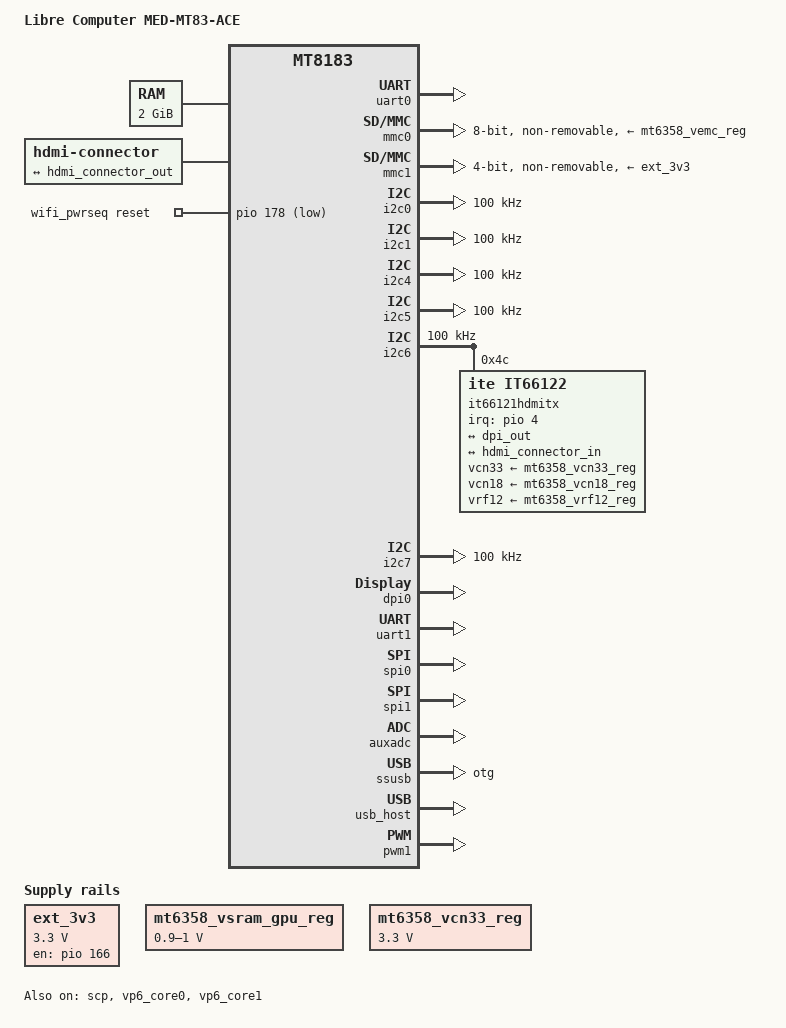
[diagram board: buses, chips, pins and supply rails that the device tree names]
// SPDX-License-Identifier: (GPL-2.0 OR MIT)
/*
 * Libre Computer MED-MT83-ACE (MT8385 / Genio 500, MT8183 die).
 *
 * 🔴 NOT DT-SYNCED with the u-boot copy any more, and this header said it was.
 *
 * The claim was true when the pair landed (u-boot 68c622a576d) and the only
 * delta was the cpu/cci proc-supply block listed at the bottom of this comment.
 * It stopped being true as this bring-up added board content here and nowhere
 * else. Measured 2026-09-14 against
 * libretech-builder-simple/u-boot v2026.07/lc-master
 * dts/upstream/src/arm64/mediatek/mt8183-med-mt83-ace.dts: 1207 diff lines, 221
 * of them property or node lines with comments stripped, and **34 node overlays
 * present here that do not exist there at all** -- &pmic, &scp, &gpu, &mfg,
 * &mfg_async, six &i2c*, &dpi0, &dpi_out, &auxadc, &pwm1, &spi0, &spi1, &uart1,
 * &cci, &cpu0..7, &mt6358codec and the six &mt6358_*_reg constraint nodes. The
 * u-boot copy is a strict SUBSET; it has gained nothing and lost nothing.
 *
 * That is doc-debt, deliberately not repaired in the round that found it: the
 * repair is a u-boot DTS change plus a u-boot build and a board boot to prove
 * it, which is a different question from the one this file's round was
 * answering. It does not break the DRAM-boot flow -- the kernel's DTB comes
 * from the FIT built out of THIS file, and u-boot uses its own built-in copy --
 * but /device-tree-sync's "both trees produce identical DTBs" is currently
 * UNMET for this board, and a reader must not infer from this header that the
 * u-boot copy carries any of the content below.
 *
 * Board content, each item read off the board's V1.0 schematic:
 *
 *   - MT6358 PMIC                        (schematic "MT8385 to MT6358 I/F")
 *   - MSDC0 eMMC, 8-bit + DSL + RSTB     (MSDC0_DAT0..7 / CMD / CLK / DSL / RSTB)
 *   - MSDC1 WiFi SDIO to the M.2 KEY E   (sheet 15 "MSDC1 as WiFi I/F")
 *   - UART0 to the debug + 40-pin header (URXD0 / UTXD0, "To Debug or Rasperry Pi")
 *   - SSUSB Type-C DRD, USB 2.0 only in practice (SSUSB_TXP/TXN/RXP/RXN are
 *     routed to CN1, but AVDD09_SSUSB is grounded -- see the &ssusb node)
 *
 * DRAM is Micron MT53B512M32D2NP-062 AAT, LPDDR4X, 2 GiB. A 4 GiB variant
 * exists; this DT is the 2 GiB build.
 *
 * NO VALUE IS DELIBERATELY ABSENT ANY MORE. Three once were:
 *   1. mediatek,u3p-dis-msk -- withheld on the reading that "ACE routes a real
 *      USB 3.0 PHY, so asserting no-U3 would contradict the schematic". That
 *      reading is RETRACTED: the pairs are routed, but AVDD09_SSUSB is tied to
 *      ground and the VA09 supply that would feed it is unpopulated, so the U3
 *      MAC can never leave reset. Routing is not power. The property is now set
 *      and the derivation is on the &ssusb node.
 *   2. &pmic interrupts-extended -- filled in, see the &pmic node.
 *   3. "microSD cd-gpios" -- CLOSED BY DELETION rather than by a value: there is
 *      no microSD slot on this board at all, MSDC1 is the M.2 WiFi SDIO bus.
 *      See the &mmc1 node.
 *
 * The standing rule that produced them still holds: do not fill a value in from
 * a sibling board, because a guess here becomes a hardware claim. Each of the
 * three above was closed from THIS board's schematic, not from the i500's.
 *
 * The it66121 HDMI bridge + DPI + hdmi-connector are shared with
 * mt8183-pumpkin.dts. They are NOT copied from it: every ACE value below is
 * read off this board's own schematic and the MT8385 pin table, and where the
 * two boards differ they differ (i2c6 vs the ACE analysis doc's claim of i2c0,
 * a GPIO6 reset net the i500 does not have, Type-A vs Type-D connector).
 *
 * Deliberately NOT carried over from mt8183-pumpkin.dts (all i500-board parts,
 * none of them on ACE): the keyboard matrix, mt7668 SDIO WiFi/BT + wifi_3v3,
 * the LAN9512 hub reset and force-vbus, the hd3ss3220 CC role switch, the
 * thermistor, the LEDs, and the i500-only mediatek,dma-max-burst read-storm
 * mitigation.
 *
 * Intentional deltas vs the u-boot copy, with reasons:
 *   - cpu0..7 / &cci proc-supply: MT8183 cpufreq needs them and u-boot has no
 *     DVFS. These are the MT8183+MT6358 pairing (little cluster on VPROC12, big
 *     cluster on VPROC11), identical in every in-tree MT8183 board file, not an
 *     ACE-specific routing claim.
 * Everything else is byte-for-byte the same board description.
 */

/dts-v1/;

#include <dt-bindings/gpio/gpio.h>
#include <dt-bindings/interrupt-controller/irq.h>
#include "mt8183.dtsi"
#include "mt6358.dtsi"

/ {
	model = "Libre Computer MED-MT83-ACE";
	compatible = "librecomputer,med-mt83-ace", "mediatek,mt8183";

	aliases {
		serial0 = &uart0;
		mmc0 = &mmc0;
		mmc1 = &mmc1;
	};

	memory@40000000 {
		device_type = "memory";
		reg = <0 0x40000000 0 0x80000000>;
	};

	chosen {
		stdout-path = "serial0:115200n8";
	};

	/* HDMI Type-A connector behind the IT66121FN (schematic sheet 14:
	 * "HDMI Type-A (CMA_TYPE-A J86A-91RT-13SL)", TMDS CH0/1/2 + CLK through
	 * common-mode chokes, CEC pin 13, HPD pin 18/19, TX_DDCSCL/TX_DDCSDA).
	 * Type "d" is what the i500 declares; the ACE connector is a full-size
	 * Type-A, so "a". */
	hdmi-connector {
		compatible = "hdmi-connector";
		label = "hdmi";
		type = "a";

		port {
			hdmi_connector_in: endpoint {
				remote-endpoint = <&hdmi_connector_out>;
			};
		};
	};

	/*
	 * EXT_3V3_ENABLE -- ONE SoC GPIO, TWO loads. Model it once, shared.
	 *
	 * 🔴 This is deliberately NOT a private mmc1 regulator, and that is the
	 * whole point of putting it at board level: GPIO166 gates BOTH the M.2
	 * WiFi 3.3 V (U4) AND the 40-pin header's 3V3 (U1). The annotation on the
	 * net says so in as many words -- "To WiFi 3V3 and Raspberry PWR EN". A DT
	 * that hangs this GPIO off mmc1 as a reset or an mmc1-owned supply would
	 * switch the header's rail as a side effect of an SDIO decision.
	 *
	 * ⚠️ SOURCED FROM THE RIGHT REVISION. An earlier draft of this node took
	 * its reference designators from med-mt83-ace-emcp-20250616 (U4000 / R4003 /
	 * R4002 / R4025 / R4027 / R4035 / L4000). That is the eMCP variant and it is
	 * also the OLDER document -- its title block reads 19 June 2025 against
	 * 04 September 2025 for the file below -- while this bench unit is the
	 * DISCRETE LPDDR4X build (its DRAM part MT53B512M32D2NP-062 appears in the
	 * g500 text and zero times in the eMCP one). Every designator below is
	 * re-read from g500_mt8385_schematic_v10_final_full.txt. The NET names are
	 * the same in both revisions, so only the designators moved.
	 *
	 *   sheet 5  PERI_EN     "To WiFi 3V3 and Raspberry PWR EN"
	 *                        EXT_3V3_ENABLE = PERIPHERAL_EN9
	 *   sheet 1  POWER_3V3   VSYS -> R9 (0R) -> POWER_3V3_VIN -> U1 (EN =
	 *                        EXT_3V3_ENABLE) -> L1 DFE252012P-1R5M ->
	 *                        POWER_3V3 -> R143 (0R) -> RASP_3V3 at CON1, the
	 *                        40-pin header, and also -> EX_DTB_POWER
	 *   sheet 15 WiFi        "3.3V DC-DC for M.2 Module": VSYS -> R85 (0R) ->
	 *                        3V3_M.2_VIN -> U4 RT5753AHGQWA (WDFN8-2x2; pin 3
	 *                        VIN, 7 EN, 6 LX) -> L6 DFE252012P-1R0M ->
	 *                        WIFI_3V3. Feedback R89 22K_1%.
	 *
	 * Ball -> GPIO from reference/soc/mt8385/04_ball_map/4_2_pin_characteristics.txt,
	 * which is a property of the DIE and so does not move with the board
	 * revision: PERIPHERAL_EN9 -> ball V22 -> GPIO166. mt8183-pinfunc.h offers
	 * GPIO166 only as GPIO166 or ANT_SEL6, so there is no function to lose by
	 * claiming it.
	 *
	 * 🔴 The enable is SoC-only -- there is no always-on strap, which is why
	 * the rail is dead until Linux drives it. Three candidate paths land on the
	 * M.2 buck's enable and only one is populated (designators per the g500 rev;
	 * the eMCP equivalents are given because the prior round quoted them):
	 *
	 *   EXT_3V3_ENABLE -> 3V3_M.2_EN   R90  0R R0402  POPULATED  (eMCP R4003)
	 *   VIO28_PMU      -> 3V3_M.2_EN   R88     R0402  NC         (eMCP R4002)
	 *   VIO18_PMU      -> 3V3_PG       R87     R0402  NM         (eMCP R4025)
	 *
	 * regulator-always-on + regulator-boot-on because the header's 3V3 is not
	 * a per-client rail: it must be live for anything a user plugs into CON1,
	 * and nothing in the DT can be its consumer. This is the same argument the
	 * vdram2 node below makes, not a crutch for a missing reference.
	 *
	 * ⚪ UNVERIFIED against a fitted module, and it cannot be verified here:
	 * the bench unit's M.2 Key-E socket is EMPTY (per the operator,
	 * 2026-09-14). What this node is expected to change is that the rail comes
	 * up at all; what it cannot settle is whether an SDIO card would answer on
	 * it.
	 */
	ext_3v3: regulator-ext-3v3 {
		compatible = "regulator-fixed";
		regulator-name = "ext_3v3";
		regulator-min-microvolt = <3300000>;
		regulator-max-microvolt = <3300000>;
		gpio = <&pio 166 GPIO_ACTIVE_HIGH>;
		enable-active-high;
		regulator-always-on;
		regulator-boot-on;
		pinctrl-names = "default";
		pinctrl-0 = <&ext_3v3_en_pins>;
	};

	/*
	 * WIFI_RESET_N -- the M.2 module's reset, held asserted until the SDIO
	 * bus is scanned. Sheet 15 labels the net "To WiFi RST"; it is
	 * PERIPHERAL_EN10, ball Y7 = GPIO178 (same pin table as above), and
	 * mt8183-pinfunc.h gives GPIO178 no alternate function at all.
	 *
	 * Active-low, so mmc-pwrseq-simple drives it low at pre_power_on and
	 * releases it after the supply is up -- which is the ordering an SDIO
	 * module needs and which nothing in the DT provided before.
	 *
	 * ⚪ Same caveat as &ext_3v3: no module is fitted, so the reset timing is
	 * modelled from the schematic and is UNPROVEN against a card. The node is
	 * inert on an empty socket -- it toggles a GPIO that reaches only the
	 * unpopulated connector.
	 */
	wifi_pwrseq: pwrseq-wifi {
		compatible = "mmc-pwrseq-simple";
		reset-gpios = <&pio 178 GPIO_ACTIVE_LOW>;
		pinctrl-names = "default";
		pinctrl-0 = <&wifi_reset_pins>;
	};

	/* The SCP's DRAM window. mt8183.dtsi's scp@10500000 carries an
	 * unconditional memory-region = <&scp_mem_reserved>, so the label has to
	 * exist for the board to compile at all (dtc otherwise fails with
	 * "Reference to non-existent node or label"). Same base/size as the
	 * i500, mt8183-pumpkin and mt8183-kukui -- 0x50000000 + 41 MiB is the
	 * SoC's SCP window, not a board choice, and the stock linux-firmware
	 * mediatek/mt8183/scp.img is linked for exactly that base, so this
	 * reservation is what lets the unrelocated vendor blob be used (the
	 * MT8188/G5 reloc-to-0x40E00000 recipe exists only because that board
	 * moved the window; nothing here needs it). &scp is enabled below. */
	reserved-memory {
		#address-cells = <2>;
		#size-cells = <2>;
		ranges;

		scp_mem_reserved: scp-mem@50000000 {
			compatible = "shared-dma-pool";
			reg = <0 0x50000000 0 0x2900000>;
			no-map;
		};

		/* BL31's TZRAM -- the secure monitor, resident for the life of
		 * the system. Two windows are reserved, because this DT must
		 * boot under either firmware: upstream TF-A (and the vendor BSP)
		 * link MT8183 TZRAM at 0x54600000, our TF-A fork at the DRAM base
		 * 0x40000000 (the libre DRAM load map). Each is TZRAM_SIZE
		 * (plat/mediatek/mt8183/include/platform_def.h), which is also
		 * the only DRAM-backed region BL31 maps (MAP_REGION_FLAT(TZRAM_BASE,
		 * TZRAM_SIZE) in aarch64/platform_common.c); the three
		 * MTK_DEV_RNG* regions beside it are MMIO below the DRAM base.
		 * The window the running BL31 does not use costs 192 KiB.
		 *
		 * Nothing in hardware enforces this: mt8183's emi_mpu_init()
		 * leaves domain 0 at NO_PROTECTION in every region, so the AP
		 * can read and write the monitor freely. Without this node
		 * Linux hands 0x54600000 out as ordinary memory -- measured, a
		 * 1 GiB allocation landed on it, the pattern and BL31's own
		 * writes interleaved, and the SoC reset to the BootROM with no
		 * panic.
		 *
		 * Size is TZRAM_SIZE (192 KiB), not the 2 MiB that
		 * mt8195-demo / mt8390-genio-common / the three mt8395 boards
		 * reserve at this same base: those are a rounded-up margin over
		 * an identically-sized window, not a different map. 0x30000 is
		 * three whole 64 KiB EMI MPU units, and BL31 is 45816 B. */
		bl31_lc_secmon_reserved: memory@40000000 {
			reg = <0 0x40000000 0 0x30000>;
			no-map;
		};

		bl31_secmon_reserved: memory@54600000 {
			reg = <0 0x54600000 0 0x30000>;
			no-map;
		};
	};

	firmware {
		scmi: scmi {
			compatible = "arm,scmi-smc";
			arm,smc-id = <0x82000310>;
			#address-cells = <1>;
			#size-cells = <0>;
			status = "disabled";
			/* no shmem: overlay-only reservation. Binding-incomplete
			 * until P2+P3's overlay; see dtbs_check note above. */
		};
	};
};

&uart0 {
	status = "okay";
};

/* MT6358 PMIC interrupt.
 *
 * Without this, platform_get_irq() in mt6397_probe() returns -ENXIO and the
 * probe ABORTS before mfd_add_devices(), so the whole MT6358 MFD -- regulators,
 * RTC, auxadc, audio codec, keys -- never appears. The kernel logs
 * "mt6397 1000d000.pwrap:pmic: error -ENXIO: IRQ index 0 not found".
 *
 * This is NOT copied from a sibling board: it is an MT8183 SoC-level constant,
 * and the ACE schematic is what establishes that there is no board net here to
 * differ about. Sourced, three independent readings:
 *
 *   1. The ACE schematics carry NO PMIC interrupt net at all.
 *      The eMCP-revision schematic (2025-06-16),
 *      sheet 10 "POWER_MT6358-IF" enumerates the complete MT6358<->MT8385
 *      control interface -- SYSRSTB, WATCHDOG, PWRKEY, HOMEKEY, SD_CARD_DET_N,
 *      PWRAP SPI CSN/CK/MO/MI, EXT_PMIC_EN1/2, SRCLKENA0/1, SCP_VREQ_VAO -- and
 *      there is no interrupt line among them. A search of both ACE schematic
 *      revisions (the eMCP one and the V1.0 final) for
 *      PMIC_INT / PMU_INT / MT6358_INT / IRQ returns zero hits.
 *
 *   2. The MT6358 has no interrupt output ball to route. Its datasheet's
 *      "Interface Summary" lists SPI,
 *      SRCLKEN_IN0/1, PWRKEY, HOMEKEY, RESETB, WDTRSTB_IN, EXT_PMIC_EN1/2,
 *      SCP_VREQ_VAO, SD_CARD_DET_N, HP_EINT (headphone detect), ACCDET,
 *      PMU_TESTMODE, the audio pairs and the fuel gauge -- and no host IRQ pin.
 *
 *   3. MT8183 GPIO182 is not a bonded-out ball on this package, so it cannot be
 *      a board net either way. GPIO180..GPIO191 appear ZERO times in the whole
 *      MT8385 datasheet and zero times in its ball map; the documented GPIO
 *      ball table stops at
 *      GPIO179. In pinctrl-mtk-mt8183.h pins 180..191 carry only MTK_FUNCTION(0,
 *      "GPIOnnn") and an EINT number -- GPIO182 -> EINT 173 -- i.e. an internal
 *      EINT source, which is how the PMIC's interrupt reaches the AP.
 *
 * Consistently, every in-tree MT8183+MT6358 board -- MediaTek's own reference
 * mt8183-evb.dts, mt8183-kukui.dtsi and mt8183-pumpkin.dts -- declares the
 * identical value, because it is a property of the die and not of the board.
 */
&pmic {
	interrupts-extended = <&pio 182 IRQ_TYPE_LEVEL_HIGH>;
};

/* eMMC (MSDC0). Pin assignment is the MT8183 fixed MSDC0 function block; the
 * ACE schematic routes the same DAT0..7 / CMD / CLK / DSL / RSTB set. */
&mmc0 {
	status = "okay";
	pinctrl-names = "default", "state_uhs";
	pinctrl-0 = <&mmc0_pins_default>;
	pinctrl-1 = <&mmc0_pins_uhs>;
	bus-width = <8>;
	max-frequency = <200000000>;
	cap-mmc-highspeed;
	mmc-hs200-1_8v;
	mmc-hs400-1_8v;
	cap-mmc-hw-reset;
	no-sdio;
	no-sd;
	hs400-ds-delay = <0x12814>;
	vmmc-supply = <&mt6358_vemc_reg>;
	vqmmc-supply = <&mt6358_vio18_reg>;
	assigned-clocks = <&topckgen CLK_TOP_MUX_MSDC50_0>;
	assigned-clock-parents = <&topckgen CLK_TOP_MSDCPLL_CK>;
	non-removable;
};

/* MSDC1 -- WiFi SDIO to the M.2 KEY E slot, NOT a microSD slot.
 *
 * 🔴 CORRECTION. Both DT copies described this as "microSD, 4-bit" with a
 * broken-cd polled slot and an unknown cd-gpios. Measured against the
 * schematic this session, that is wrong in three independent ways, and the
 * board has NO SD card socket at all:
 *
 *   1. Both ACE schematic texts label the MSDC1 block verbatim
 *      "MSDC1 as WiFi I/F" (sheet 15, WiFi_BT_GPS_Module) and route
 *      MSDC1_CLK/CMD/DAT0..3 through 0R series resistors R4301..R4306 to the
 *      M.2 KEY E connector's SDIO_CLK/CMD/D0..D3.
 *   2. The board's connector list enumerates CN1, J6, J7, J8, CON1, ME2, the 3.5 mm jack, HDMI,
 *      J4004 and J3 -- and no card socket.
 *   3. The one card-detect-shaped net on the board, the MT6358's
 *      SD_CARD_DET_N (pin J13), goes to a TEST POINT only (TP23 / TP8227) and
 *      reaches no connector -- which is why no cd-gpios was ever findable.
 *      Its absence was the symptom, not a gap in the OCR.
 *
 * So the "unknown cd-gpios" is CLOSED by deletion, not by a value. Supplies
 * are corrected with it: vqmmc is DVDD18_MSDC1, which the schematic ties to
 * VIO18_PMU through R90171 (sheet 3) -- not to VMC. vmmc is NOT a PMIC rail
 * here: the module is fed WIFI_3V3 from an external buck, so the old vmch
 * reference was a claim about a rail that does not supply this slot.
 *
 * ⚠️ NET NAMES CORRECTED. An earlier revision of this comment named
 * EXT_3V1_ENABLE, WIFI_RST_L, RT5733AHGQWA and WIFI_3V9. None of those four
 * strings appears anywhere in this board's schematic -- they were misreadings,
 * not a superseded naming scheme. The board says EXT_3V3_ENABLE, WIFI_RESET_N,
 * RT5753AHGQWA and WIFI_3V3, in BOTH the g500 and the eMCP revisions, and both
 * GPIOs are now resolved -- see &ext_3v3 and &wifi_pwrseq.
 *
 * ⚠️ The buck's designator really is U4 on this revision -- that part of the
 * old comment was right. U4000 is the eMCP variant's name for the same part,
 * and the eMCP document is the OLDER of the two (June vs September 2025), so
 * it is not a rename and it is not what this unit is.
 *
 * ⚪ NO MODULE IS FITTED in the M.2 Key-E socket on the bench unit (per the
 * operator, 2026-09-14). `mmc1: Failed to initialize a non-removable card`
 * with cmd=52 / cmd=5 timing out is therefore the CORRECT reading for this
 * board and not a defect to chase. The supplies below are modelled because
 * they are true of the board regardless of population -- and because the same
 * enable also feeds the 40-pin header (see &ext_3v3) -- but the SDIO side of
 * them is UNVERIFIED, since there is no card here to verify it against. */
&mmc1 {
	status = "okay";
	pinctrl-names = "default", "state_uhs";
	pinctrl-0 = <&mmc1_pins_default>;
	pinctrl-1 = <&mmc1_pins_uhs>;
	bus-width = <4>;
	max-frequency = <200000000>;
	cap-sd-highspeed;
	sd-uhs-sdr50;
	sd-uhs-sdr104;
	cap-sdio-irq;
	keep-power-in-suspend;
	non-removable;
	no-mmc;
	no-sd;
	vmmc-supply = <&ext_3v3>;
	vqmmc-supply = <&mt6358_vio18_reg>;
	mmc-pwrseq = <&wifi_pwrseq>;
};

/* The MFG (GPU) power domains. 🔴 THESE ARE NOT OPTIONAL AND THEIR ABSENCE
 * IS NOT LOCAL TO THE GPU.
 *
 * Measured 2026-09-14 on the first feature run (DTB 225383aa08ce), verbatim:
 *
 *   mtk-power-controller 10006000.syscon:power-controller: Looking up
 *     domain-supply property in node /soc/syscon@10006000/power-controller failed
 *   mtk-power-controller 10006000.syscon:power-controller: error -ENODEV:
 *     /soc/syscon@10006000/power-controller/power-domain@2: failed to get power supply.
 *
 * scpsys refuses the WHOLE controller when one domain's supply is missing, so
 * every consumer of `power-domains = <&spm ...>` is then stranded on
 * "supplier 10006000.syscon:power-controller not ready" -- measured, that was
 * 40 platform devices: the entire display pipeline (ovl/rdma/color/ccorr/aal/
 * gamma/dither/mutex/dpi and therefore mediatek-drm and the HDMI bridge), the
 * GPU, all six SMI larbs, the IOMMU, MDP3, both video codecs, the JPEG
 * encoder, the AFE and the display PWM. One missing property, one dead
 * multimedia subsystem.
 *
 * Rails read off the schematic, not copied from a sibling: sheet 8 buck VGPU
 * -> DVDD_GPU (SoC ball S18), sheet 9 SLDO VSRAM_GPU -> DVDD_VSRAM_GPU_PMU
 * (ball T18). Both were present-but-disabled in the PMIC round's
 * 41-regulator enumeration, because nothing claimed them. */
&mfg_async {
	domain-supply = <&mt6358_vsram_gpu_reg>;
};

&mfg {
	domain-supply = <&mt6358_vgpu_reg>;
};

/* Mali G72 MP3, panfrost.
 *
 * ONLY mali-supply. The SRAM rail belongs on &mfg_async above, not here: this
 * node's compatible is "mediatek,mt8183b-mali", which panfrost_drv.c maps to
 * mediatek_mt8183_b_data -> default_supplies[] = { "mali", NULL }. Only the
 * older "mediatek,mt8183-mali" takes legacy_supplies[] = { "mali", "sram" }.
 * An earlier revision of this file declared sram-supply here, where it is
 * inert. Every in-tree MT8183 board (kukui, pumpkin, evb) sets mali-supply
 * alone for the same reason. */
&gpu {
	mali-supply = <&mt6358_vgpu_reg>;
};

/*
 * PWR-002 on ACE: make the mtk-svs GPU bank bind deterministically. Same fix
 * mt8183-kukui.dtsi:389-439 carries (27e60b5cca611), applied here because ACE
 * includes mt8183.dtsi + mt6358.dtsi and inherits none of the kukui file.
 *
 * Board-measured 2026-09-14 on 6.18.35-01555-g511eaa254f99, verbatim and
 * character-for-character the string that commit was written for:
 *
 *   [    3.600810]  SVSB_GPU: buck voltage: 700000uV, expected vboot: 800000uV
 *   [    3.607684] mtk-svs 1100bc00.svs: error -EPERM: svs start fail
 *
 * with SVSB_CPU_LITTLE, SVSB_CPU_BIG and SVSB_CCI all clearing their init01
 * gates in the same boot, so the GPU bank is the only one left. mtk-svs.c
 * :1545-1550 requires the live buck to read exactly opp_vboot = volt_base +
 * vboot*volt_step = 500000 + 0x30*6250 = 800000 uV; vgpu idles at 700 mV and
 * SVS never drives the rail itself.
 *
 * The floor goes on vsram_gpu, NOT vgpu: vgpu is panfrost's mali-supply OPP
 * regulator, so a hard vgpu regulator-min of 800000 would mark the 15 sub-800
 * mV GPU OPPs (mt8183.dtsi gpu_opp_table, 300-800 MHz) unsupported and pin the
 * GPU to 800 MHz. Coupling with a 100 mV max-spread and flooring the SRAM rail
 * makes the coupler hold vgpu at exactly 800 mV while leaving every GPU OPP
 * available -- this board's devfreq already reads all 16 of them.
 */
&mt6358_vgpu_reg {
	regulator-max-microvolt = <900000>;
	regulator-boot-on;

	regulator-coupled-with = <&mt6358_vsram_gpu_reg>;
	regulator-coupled-max-spread = <100000>;
};

&mt6358_vsram_gpu_reg {
	regulator-min-microvolt = <900000>;
	regulator-max-microvolt = <1000000>;
	regulator-boot-on;

	regulator-coupled-with = <&mt6358_vgpu_reg>;
	regulator-coupled-max-spread = <100000>;
};

/* I2C0 -- LCD/touch, 3.3 V side of the NTS0104GU12 level shifter U8.
 * Schematic sheet 17: SCL0 -> U8 VL_IO3, SDA0 -> U8 VL_IO4, emerging as
 * SCL0_3V3 / SDA0_3V3 on J6 pins 20/21. 4.7K pull-ups to VIO18_PMU
 * (R90105/R90109). Pins: SDA0 = GPIO82 (ball AC5), SCL0 = GPIO83 (ball AB6)
 * -- MT8385 datasheet 4.2 pin-characteristics table. */
&i2c0 {
	pinctrl-names = "default";
	pinctrl-0 = <&i2c_pins_0>;
	status = "okay";
	clock-frequency = <100000>;
};

/* I2C1 -- 40-pin header CON1 pins 3 (SDA1) and 5 (SCL1), schematic sheet 19.
 * SDA1 = GPIO81 (ball AF4), SCL1 = GPIO84 (ball AE4). */
&i2c1 {
	pinctrl-names = "default";
	pinctrl-0 = <&i2c_pins_1>;
	status = "okay";
	clock-frequency = <100000>;
};

/* I2C4 -- Camera A FPC J7 pins 19/20, 4.7K pull-ups R133/R134 (sheet 18).
 * SCL4 = GPIO105 (ball Y2), SDA4 = GPIO106 (ball W2). No sensor is fitted on
 * the bench unit; the bus is enabled so a scan can prove the controller. */
&i2c4 {
	pinctrl-names = "default";
	pinctrl-0 = <&i2c_pins_4>;
	status = "okay";
	clock-frequency = <100000>;
};

/* I2C5 -- Camera B FPC J8 pins 19/20, 4.7K pull-ups R138/R139 (sheet 18).
 * SCL5 = GPIO48 (ball AH24), SDA5 = GPIO49 (ball AH25) -- the schematic prints
 * AH25 against this pair, which the datasheet resolves to SDA5. */
&i2c5 {
	pinctrl-names = "default";
	pinctrl-0 = <&i2c_pins_5>;
	status = "okay";
	clock-frequency = <100000>;

	#address-cells = <1>;
	#size-cells = <0>;
};

/* I2C6 -- the IT66121FN HDMI transmitter's control bus.
 *
 * NOT I2C0, as an earlier board summary said. The
 * schematic routes SCL6/SDA6 -> SCL6_R/SDA6_R -> the Q1/Q2 level shifters ->
 * 1V8_PCSCL/1V8_PCSDA at the IT66121 (sheet 14). Pins: SCL6 = GPIO113
 * (ball J4, default name CONN_TOP_CLK), SDA6 = GPIO114 (ball J5,
 * CONN_TOP_DATA) -- and the schematic prints exactly those two default names
 * beside SCL6/SDA6 on sheet 5, which is the cross-check. */
&i2c6 {
	pinctrl-names = "default";
	pinctrl-0 = <&i2c6_pins>;
	status = "okay";
	clock-frequency = <100000>;

	#address-cells = <1>;
	#size-cells = <0>;

	/*
	 * 🔴 The fitted part is an IT66122FN, NOT the IT66121FN the schematic
	 * symbol on sheet 14 names. Read from the silicon's own ID registers on
	 * 2026-09-14 with the rails up: 0x00=0x54 0x01=0x49 0x02=0x22 0x03=0x06,
	 * i.e. vendor 0x4954, device 0x0622. The ITE vendor driver decodes
	 * register 0x02 == 0x22 as Device_IT66122 (0x21 = Device_IT66121).
	 * Silicon answering its own ID register outranks a schematic symbol for
	 * part identity; the schematic stays authoritative for the nets, which
	 * is what it was used for everywhere else in this file.
	 */
	it66121hdmitx: hdmitx@4c {
		compatible = "ite,it66122";
		/* R52 (0R) pulls PCADR low -> 8-bit address 0x98 -> 7-bit 0x4c
		 * (schematic sheet 14). */
		reg = <0x4c>;
		#sound-dai-cells = <0>;
		pinctrl-names = "default";
		pinctrl-0 = <&ite_pins>;
		/*
		 * INT = GPIO4 / EINT4, ball AC3. Sourced twice: the ACE
		 * schematic sheet 5 prints "AC3 IT66121_INT" against
		 * "PERIPHERAL_EN6 / EINT4 / HDMI 66121FN HPD ro INT", and the
		 * MT8385 datasheet pin table gives GPIO4 = ball AC3 = EINT4.
		 * (The i500 uses 4 as well; that is a coincidence of the same
		 * EINT being free on both boards, not the source here.)
		 *
		 * No reset-gpios, deliberately. The board DOES have a reset
		 * net -- IT66121_SYSRSTN on GPIO6 / EINT6 / ball AE2 -- but
		 * since the 6.18.34 "acquire reset GPIO in probe" change the
		 * driver PULSES it, and on the i500 that leaves the chip
		 * unresponsive on its i2c bus. The pin is instead parked
		 * output-high (deasserted, active-low) in ite_pins and the
		 * chip self-inits from power-on. Revisit only with a board
		 * measurement of the pulse.
		 */
		interrupt-parent = <&pio>;
		interrupts = <4 IRQ_TYPE_LEVEL_LOW>;
		/* Sheet 14: TX_OVDD33 <- VCN33_PMU_IT66121, TX_OVDD (1.8 V)
		 * <- VCN18_PMU_IT66121, TX_DVDD12 <- VRF12_PMU_IT66121. */
		vcn33-supply = <&mt6358_vcn33_reg>;
		vcn18-supply = <&mt6358_vcn18_reg>;
		vrf12-supply = <&mt6358_vrf12_reg>;

		ports {
			#address-cells = <1>;
			#size-cells = <0>;

			port@0 {
				reg = <0>;

				it66121_in: endpoint {
					bus-width = <12>;
					remote-endpoint = <&dpi_out>;
				};
			};

			port@1 {
				reg = <1>;

				hdmi_connector_out: endpoint {
					remote-endpoint = <&hdmi_connector_in>;
				};
			};
		};
	};
};

/* I2C7 -- 40-pin header CON1 pins 26 (SCL7) and 27 (SDA7), the "EEPROM bus"
 * (schematic sheets 5 + 19), 4.7K pull-ups R90155/R90156.
 *
 * The pins were an open question until this session because mt8183-pinfunc.h
 * offers SCL7/SDA7 on FOUR different pairs. The ACE schematic prints the ball
 * designators beside the nets -- "SCL7 L3", "SDA7 K3" -- and the MT8385
 * datasheet pin table resolves L3 = GPIO110 and K3 = GPIO112, on both of
 * which SCL7/SDA7 is alt-function 1. */
&i2c7 {
	pinctrl-names = "default";
	pinctrl-0 = <&i2c_pins_7>;
	status = "okay";
	clock-frequency = <100000>;
};

/* DPI -> IT66121. 12-bit DBPI data + HSYNC/VSYNC/DE/CK on the SoC's fixed
 * GPIO13..GPIO28 block (datasheet: GPIO27 = ball AC26 = DPI_DE, GPIO28 =
 * ball AC25 = DPI_CK, matching the schematic's DPI_DE/DPI_CK nets on sheet
 * 13). The i500's group additionally muxes I2S5 for HDMI audio; that is left
 * out here because the ACE HDMI-audio routing has not been read off the
 * schematic and the MediaTek sound machine driver is a module anyway. */
&dpi0 {
	pinctrl-names = "default", "sleep";
	pinctrl-0 = <&dpi_func_pins>;
	pinctrl-1 = <&dpi_idle_pins>;
	status = "okay";
};

/* mt8183.dtsi already declares dpi0's output endpoint (ports/port@1/
 * endpoint@1, label dpi_out) with no remote; only the far end is a board
 * fact. Declaring a second `port` here instead is a dtc duplicate_label. */
&dpi_out {
	remote-endpoint = <&it66121_in>;
};

/*
 * 🔴 The IT66121's three rails must be live before its control bus exists --
 * this is an ACE topology fact, not a generic-driver preference.
 *
 * Why that is fatal HERE and not on the i500: on ACE the SoC's I2C6 does not
 * reach the chip directly. SCL6/SDA6 pass through the LM20B50NGI3A level
 * shifters Q3/Q4 to 1V8_PCSCL/1V8_PCSDA, IT66121_SYSRSTN passes through Q2 to
 * 1V8_SYSRSTN, and the 4.7 K bus pull-ups R79/R80 sit on TX_OVDD -- which IS
 * VCN18_PMU_IT66121 (schematic sheet 14). With VCN18 down there are no pull-ups
 * and no translator reference, so the bus to the chip does not exist.
 *
 * ⚠️ This is deliberately NOT scoped to the bridge driver's probe, and that is
 * the whole point of the layering here. ite-it66121.c enables all three itself
 * (devm_regulator_bulk_get_enable), so for a pure CHIP rail the driver is the
 * right owner and always-on would be a crutch. VCN18 is not a pure chip rail:
 * it is the reference and pull-up supply for the whole i2c-6 SEGMENT. Tying its
 * lifetime to one client driver's probe RESULT is what produced the earlier
 * empty scan -- probe returned -ENODEV on the ID mismatch, devm released the
 * rails, and `i2cdetect -y -r 6` then saw nothing at all, which is
 * indistinguishable from a dead chip. Bus infrastructure outlives its clients.
 *
 * Given VCN18 is always-on, VRF12 must be too. The IT66122FN datasheet requires
 * IVDD12 (the 1.2 V core, VRF12_PMU_IT66121) to reach VIH BEFORE OVDD (the I/O
 * rails, VCN18/VCN33), with under 1 ms between them. Leaving VRF12 to the
 * driver while VCN18 is up from boot would guarantee the forbidden order. VCN33
 * is TX_OVDD33 and follows the same I/O-rail argument as VCN18.
 *
 * ⚠️ Note for anyone tempted to move the ordering into the driver instead:
 * regulator_bulk_enable() dispatches every supply through
 * async_schedule_domain() and then waits for all of them, so the enable ORDER
 * is undefined. The driver as written cannot honour that sequencing under any
 * device tree; only bringing the rails up at PMIC init makes the state
 * deterministic.
 *
 * Safe and board-specific: each of the three nets has exactly ONE consumer in
 * the schematic -- VCN33_PMU_IT66121, VCN18_PMU_IT66121, VRF12_PMU_IT66121 --
 * the HDMI transmitter and nothing else. vcn33 is additionally pinned to its
 * nominal 3.3 V: the LDO powers up at 3500 mV (measured: `vcn33 uV=3500000`,
 * constraints 3300-3500 mV) and TX_OVDD33 is a 3.3 V rail.
 */
&mt6358_vcn33_reg {
	regulator-min-microvolt = <3300000>;
	regulator-max-microvolt = <3300000>;
	regulator-always-on;
	regulator-boot-on;
};

&mt6358_vcn18_reg {
	regulator-always-on;
	regulator-boot-on;
};

&mt6358_vrf12_reg {
	regulator-always-on;
	regulator-boot-on;
};

/*
 * 🔴 vdram2 IS the LPDDR4X VDDQ. It has no Linux consumer and never can have
 * one, so the regulator core's init-complete sweep disables it ~30 s after
 * late_initcall and the board loses DRAM mid-boot.
 *
 * Read off the ACE (discrete LPDDR4X) schematic, not inferred:
 *
 *   g500_mt8385_schematic_v10_final_full.txt:3428-3438 -- the PMIC output net
 *   EMI_VDRAM2 reaches the DRAM's EMI_VDDQ through R90169, and the fit note
 *   beside it reads "For LPDDR4X, R90170/R90258 NC, R90169/R90259 0 ohm". This
 *   board is LPDDR4X (Micron MT53B512M32D2NP-062, two placements), so R90169 is
 *   the populated 0 ohm and EMI_VDRAM2 is EMI_VDDQ with nothing in between.
 *
 *   :3616-3620 -- the MT8385 trapping table for the VS2_LDO1 ball gives VDRAM2
 *   = 0.6 V for the LP4/LP4X strap, which is exactly what the rail reads on the
 *   board (600 000 uV).
 *
 * There is no driver that should be claiming this rail: VDDQ supplies the DRAM
 * die's I/O, and the DRAM is not a Linux device with a supply phandle. The EMI
 * controller does not model it either. A rail that must be up for the whole
 * life of the system, with no possible consumer, is exactly what
 * regulator-always-on is for -- this is not a crutch for a missing reference.
 *
 * regulator-boot-on is asserted with it because BL2's libdram brings VDDQ up
 * before it calibrates, so the rail is already on when Linux first sees it and
 * the core must not treat the first enable as a transition.
 *
 * ⚠️ vaux18 is disabled by the SAME sweep, 3 ms later, and is deliberately NOT
 * constrained here. On this board VAUX18_PMU has exactly one destination --
 * AVDD18_AUXADC, the MT6358's own AUXADC analog supply, through R90072
 * (:2921, :3850) -- so losing it cannot cost the board DRAM. Constraining both
 * at once would have made this change unfalsifiable.
 */
&mt6358_vdram2_reg {
	regulator-always-on;
	regulator-boot-on;
};

/*
 * Audio: the MT6358's own codec into the 3.5 mm TRRS jack (schematic sheets 11
 * and 16), and nothing else -- ACE carries no TS3A227E, no MAX98357A, no
 * DA7219 and no RT1015.
 *
 * 🔴 CORRECTION to the 2026-09-14 feature matrix, which recorded "no
 * MT8183+MT6358-only machine driver exists". One does, on this branch:
 * a57fd6572aed6 added the bare "mediatek,mt8183-mt6358-sound" card to
 * sound/soc/mediatek/mt8183/mt8183-mt6358-ts3a227-max98357.c, whose only
 * mandatory codec link is COMP_CODEC("mt6358-sound",
 * "mt6358-snd-codec-aif1") and whose only required property is
 * mediatek,platform. It is already built by
 * CONFIG_SND_SOC_MT8183_MT6358_TS3A227E_MAX98357A=m. The ACE gap was therefore
 * never a missing driver -- it was this missing node. mt8183-pumpkin.dts:636
 * is the same card on the same die.
 *
 * No mediatek,hdmi-codec phandle: that FE/BE pair needs AFE I2S5 muxed into
 * dpi_func_pins, and the ACE HDMI-audio routing has not been read off the
 * schematic (see the &dpi0 comment). The TRRS path does not need it.
 */
/ {
	sound {
		compatible = "mediatek,mt8183-mt6358-sound";
		mediatek,platform = <&afe>;
		status = "okay";
	};
};

&mt6358codec {
	Avdd-supply = <&mt6358_vaud28_reg>;
};


/* UART1 -- the J3 3-pin header (schematic sheet 5: "UART1_TX ball H4,
 * UART1_RX ball H3", J3 pin 1 UART1_RX / pin 2 UART1_TX / pin 3 D_GND).
 * Datasheet: H4 = GPIO115, H3 = GPIO121, and UTXD1/URXD1 is alt-2 on that
 * pair. 1.8 V, no level shifter and no pull-up anywhere on the nets. */
&uart1 {
	pinctrl-names = "default";
	pinctrl-0 = <&uart1_pins>;
	status = "okay";
};

/* SPI0 -- the 40-pin header's SPI_* group, which doubles as JTAG on this
 * board (SPI_CLK_JTCK / SPI_MO_JTDI / SPI_MI_JTDO / SPI_CSB_JTMS, sheet 19
 * CON1 pins 22 / 7 / 16+18 / 11). Every ball on the schematic matches the
 * datasheet 1:1: AF3 = GPIO88 = SPI_CLK, AH2 = GPIO87 = SPI_MO,
 * AJ2 = GPIO85 = SPI_MI, AG3 = GPIO86 = SPI_CSB. */
&spi0 {
	pinctrl-names = "default";
	pinctrl-0 = <&spi0_pins>;
	mediatek,pad-select = <0>;
	status = "okay";
};

/* SPI1 -- the header's second SPI (CON1 pins 19 SPI1_MO, 21 SPI1_MI,
 * 23 SPI1_CLK, 24 SPI1_CSB). The datasheet pin table names GPIO161..GPIO164
 * SPI1_MI / SPI1_CSB / SPI1_MO / SPI1_CLK, which is the same net vocabulary
 * the schematic uses; mt8183-pinfunc.h spells that group SPI1_A_*.
 *
 * ⚠️ One unresolved cell: sheet 19 annotates CON1 pin 24 as
 * "GPIO56 (SPI1_CSB, Raspberry-SPI0 CE1)", i.e. it may route the chip select
 * from GPIO56 rather than from the SPI1_A_CSB pin. GPIO56 is NOT muxed here;
 * if a device on this bus never selects, that annotation is where to look. */
&spi1 {
	pinctrl-names = "default";
	pinctrl-0 = <&spi1_pins>;
	mediatek,pad-select = <0>;
	status = "okay";
};

/* SoC AUXADC. Feeds the board thermistor divider on AUX_IN2_NTC and the AP
 * thermistor NTC1501 (NCP15WF104F03RC) on AUX_IN0_NTC, schematic sheet 4.
 * The consumer side is not modelled: no iio-hwmon / thermal channel is
 * declared, because the divider ratios are on the schematic but the
 * NTC beta/table is not, and a temperature curve invented here would be a
 * hardware claim. */
&auxadc {
	status = "okay";
};

/* SCP (System Companion Processor) -- an ARM Cortex-M4, EABI5, NOT the RISC-V
 * core the MT8195/MT8188 generation uses. It is not optional equipment on this
 * board: mt8183.dtsi wires BOTH vcodec nodes to it with an unconditional
 * mediatek,scp = <&scp>, so with the node disabled mtk_vcodec_fw_scp_init()
 * fails scp_get() and the decoder and encoder both abort probe --
 * "mtk-vcodec-dec 16020000.video-codec: SCP pdev failed" /
 * "could not get vdec scp handle", measured on this board 2026-09-14. MDP3
 * degrades rather than aborts ("no SCP; kernel-direct-only mode").
 *
 * firmware-name is load-bearing here and its absence is a silent trap, not a
 * default -- though NOT by the generic rproc_alloc() route. mtk_scp supplies
 * its own default before that route can be reached: scp_rproc_init()
 * pre-initialises fw_name to the BARE string "scp.img"
 * (drivers/remoteproc/mtk_scp.c:1188), calls rproc_of_parse_firmware() and
 * explicitly tolerates its -EINVAL when the property is missing (:1193), so
 * devm_rproc_alloc() (:1196) is always handed a non-NULL name and
 * rproc_alloc_firmware()'s kasprintf("rproc-%s-fw", name) fallback
 * (remoteproc_core.c:2408) is never taken. The failure is therefore a request
 * for "scp.img" at the TOP of the firmware search path, not for
 * "rproc-scp-fw". Either way no such file ships -- linux-firmware puts the
 * image at mediatek/mt8183/scp.img and request_firmware() does a literal path
 * lookup with no subdirectory search -- so the load fails and both vcodec
 * nodes abort probe. mt8183-kukui.dtsi sets the property and is right. The
 * blob is the stock linux-firmware one, linked for the 0x50000000 window
 * reserved above.
 *
 * 🔴 NO scp_pins here, and that is a board fact rather than an omission.
 * mt8183-kukui.dtsi's scp_pins muxes GPIO110/GPIO112 to TP_URXD1_AO/TP_UTXD1_AO
 * for the SCP's own debug UART. On ACE those two pins are the I2C7 bus
 * (PINMUX_GPIO110__FUNC_SCL7 / PINMUX_GPIO112__FUNC_SDA7, &i2c7 above), so
 * copying kukui's node would steal a live board bus to gain a console nobody
 * can reach. The SCP debug UART is diagnostic only; the core boots without it,
 * which is what mt8183-pumpkin.dts demonstrates.
 *
 * No cros-ec-rpmsg child either: that is the Chromebook EC talking over the
 * SCP's rpmsg channel. ACE has no embedded controller.
 */
&scp {
	status = "okay";
	firmware-name = "mediatek/mt8183/scp.img";
};

/*
 * Dual Cadence Vision-P6 IPU. The nodes, iommus, and SPI 292/293 already
 * exist in mt8183.dtsi as status = "disabled" (SoC bring-up opt-in). ACE
 * is the same die as i500; r31 DRAM-boot proved mtk-vp6 probe with
 * FIT-time fdtput ACE_VP6=1. This overlay is the production DTB form of
 * that okay, so the compiled mt8183-med-mt83-ace.dtb ships both cores
 * enabled without a pack-time fdtput.
 */
&vp6_core0 {
	status = "okay";
};

&vp6_core1 {
	status = "okay";
};

/* USB Type-C dual-role. dr_mode = "otg" so the OS can hot-swap host<->device;
 * drivers/usb/mtu3/mtu3_plat.c maps USB_DR_MODE_OTG -> PERIPHERAL for u-boot's
 * gadget, so BL33's DFU/UMS/fastboot still works under it.
 *
 * 🔴 usb-role-switch + role-switch-default-mode = "peripheral": without a role
 * property the board settles in HOST role and the device side is electrically
 * dead, which is measured, not inferred (2026-09-14: a fully composed NCM
 * gadget reported `UDC bind rc=0`, `UDC readback = 11201000.usb` and then
 * `udc state = not attached`, beside `usb1 1d6b:0002 xHCI Host Controller` in
 * the board's own /sys/bus/usb/devices, while the lab host never enumerated
 * anything).
 *
 * Why the DT is the right layer, read from the driver rather than assumed:
 * ssusb_otg_switch_init() (drivers/usb/mtu3/mtu3_dr.c) is a three-way branch --
 * debugfs `mode` if manual_drd_enabled, a usb_role_switch if role_sw_used, else
 * ssusb_extcon_register(). Both flags are DT-only
 * (mtu3_plat.c: of_property_read_bool(node, "enable-manual-drd") and
 * of_property_read_bool(node, "usb-role-switch") -- NEITHER carries a vendor
 * prefix, which is the easy way to write this and get a silent false). With
 * neither declared the driver took the extcon branch on a board that has no
 * extcon, ssusb_extcon_register() returned early on a NULL edev, no
 * ssusb_set_mode() was ever called, and the role was left to the hardware
 * IDDIG pin -- which on this board cannot indicate device (see below). So
 * there was no control surface of any kind: `/sys/class/usb_role/` was empty
 * and mtu3's debugfs carried no `mode` file.
 *
 * usb-role-switch is chosen over enable-manual-drd for the same one-line cost:
 * it creates a stable /sys/class/usb_role/<name>/role with
 * allow_userspace_control = true (ssusb_role_sw_register() sets it), rather
 * than a debugfs file whose write path additionally rejects a same-state
 * request with -EINVAL.
 *
 * role-switch-default-mode = "peripheral" is what makes the board useful with
 * no userspace action: usb_get_role_switch_default_mode() (usb/common/common.c)
 * reads exactly this string, and ssusb_role_sw_register() maps
 * USB_DR_MODE_PERIPHERAL -> default_role = USB_ROLE_DEVICE and calls
 * ssusb_set_mode() with it at probe. dr_mode stays "otg", so host is NOT
 * removed -- a write of `host` to that sysfs file still switches back. That is
 * the whole reason this is not dr_mode = "peripheral", which would strip host
 * capability from the board's ONLY USB port.
 *
 * 🔴 The CC presentation says DEVICE, and nothing in the board reports it to
 * the SoC -- which is why the default belongs in the DT.
 *
 * The receptacle is DESIGNED as Rd/Rd: 5.1K pull-downs to D_GND on CC1 and CC2,
 * R6 and R7 on sheet 1 of the V1.0 final schematic (the older
 * eMCP revision spells the same pair R5/R6). That is a UFP/sink -- a port that
 * should come up as a peripheral. "5.1K" occurs exactly twice in the whole
 * schematic and both are this pair. This corrects earlier bring-up notes that
 * recorded the OPPOSITE and called it a design gap "that must be corrected";
 * the likely origin is a designator collision with R8, a 470R LED resistor that
 * also renders as "R6" at a far column of the same sheet.
 *
 * ⚪ DESIGNED, not necessarily FITTED. This unit was reworked -- R1/R2 removed
 * (per user, 2026-03-12), Q7 never placed (2026-03-11), R90319 removed
 * (2026-03-13) -- and those notes name neither R6 nor R7, so the population of
 * the two Rd parts on THIS board is simply unrecorded. Unknown, not absent.
 * Nothing here depends on resolving it: the DT default decides the role
 * regardless of what the CC pins do.
 *
 * ⚠️ CORRECTION, and it matters because the wrong version of it was written
 * first: this board's revision has NO CC-to-IDDIG tie. The 0R ties from CC1/CC2
 * to IDDIG (R90312/R90313) exist only in the OLDER eMCP revision, which is not
 * what this unit is. Here IDDIG (ball AF23 -- not the AC23 the schematic
 * analysis doc used to give) reaches the SoC through R90319 (0R), and the
 * board-rework notes say R90319 was REMOVED (per user, 2026-03-13), with Q7
 * (NC/LM20B50NGI3A) never placed. On the reworked unit, then, IDDIG is
 * isolated from CC entirely and floats to the SoC's internal pull-up. That is
 * an argument for the DT default, not against it: the one signal the
 * controller could have used for role detection is not connected to anything
 * that knows what is plugged in. Do not restate the eMCP divider story about
 * this rev.
 *
 * What IS established is the software cause, and it is sufficient on its own:
 * with neither role property in the DT the driver took the extcon branch on a
 * board with no extcon, so ssusb_set_mode() was never called from anywhere and
 * the role was whatever the controller powered up as. The measured result was
 * host, with a host cable attached, and no surface to change it.
 *
 * 🔴 mediatek,u3p-dis-msk: ACE cannot run SuperSpeed, because its U3 analog
 * supply is not merely absent -- it is tied to ground.
 *
 * Schematic g500_mt8385_schematic_v10_final_full.txt, SoC power-ball sheet
 * :932-947, one line per analog rail. Every USB rail there names a supply net
 * except one:
 *
 *   H22  AVDD12_USB    -> VA12_PMU     (MT6358 VA12)
 *   F27  AVDD18_USB    -> AVDD18_SOC
 *   F25  AVDD33_USB    -> VUSB_PMU     (MT6358 VUSB, this node's vusb33-supply)
 *   H23  AVDD18_SSUSB  -> AVDD18_SOC
 *   K27  AVDD09_SSUSB  -> D_GND        <-- grounded
 *
 * and the rail that would have fed K27 is never brought into existence: :3571
 * reads "R1  NC  EXT_PMIC_EN2  TP21  EXT_PMIC_EN2 : VA09 for SSUSB/UFS,
 * Floating if not used". The enable resistor is a do-not-populate, the net ends
 * at a test point, and grepping all three ACE schematic texts for "VA09" finds
 * that comment and nothing else -- there is no VA09 net on this board.
 *
 * That is what the -110 is. ssusb_check_clocks() (mtu3_plat.c:29-35) polls
 * U3D_SSUSB_IP_PW_STS1 for SSUSB_U3_MAC_RST_B_STS | SSUSB_SYS125_RST_B_STS |
 * SSUSB_REF_RST_B_STS | SSUSB_SYSPLL_STABLE with a 20 ms timeout, and
 * mtu3_core.c:103 puts the U3-MAC bit in that mask whenever u3_capable is set --
 * which it is, because the IP reports a U3 device port (mtu3_core.c:864) even
 * though this board does not power one. Our BL33 fails in the same place for
 * the same reason: u-boot's mtu3_plat.c:47 polls the identical register and the
 * identical four bits, which is why "clks of sts1 are not stable!" and Linux's
 * -110 are one fault seen twice, not two.
 *
 * mediatek,u3p-dis-msk = <0x1> clears u3_capable (mtu3_core.c:825-826), which
 * drops the U3-MAC bit from the poll and caps max_speed at high-speed
 * (:845-846); maximum-speed states that explicitly rather than by side effect.
 *
 * ⚠️ This supersedes the file header's earlier refusal to set this property.
 * That refusal read the SS pairs as proof of a working U3 PHY: on the discrete
 * variant SSUSB_TXP/TXN/RXP/RXN really are routed to CN1 A2/A3/B10/B11, AC-
 * coupled through C6/C7 (:66-71, :214-218). But routing is not power. The pairs
 * are stranded -- and on the eMCP variant they are not even that, terminating at
 * TP223/TP225/TP226 with a USB2-only 16-pin connector
 * (med-mt83-ace-emcp-20250616_full.txt:13-115, :1239-1252). Declaring no-U3
 * here contradicts no schematic; it transcribes one.
 *
 * USB2 is unaffected: AVDD12_USB, AVDD18_USB and AVDD33_USB are all supplied.
 */
&ssusb {
	dr_mode = "otg";
	usb-role-switch;
	role-switch-default-mode = "peripheral";
	mediatek,u3p-dis-msk = <0x1>;
	maximum-speed = "high-speed";
	vusb33-supply = <&mt6358_vusb_reg>;
	status = "okay";
};

&usb_host {
	vusb33-supply = <&mt6358_vusb_reg>;
	status = "okay";
};

/* MT8183 cpufreq: the MT6358 supplies the little cluster from VPROC12 and the
 * big cluster from VPROC11. SoC+PMIC pairing, not an ACE routing claim -- it is
 * identical in every in-tree MT8183 board file. Absent from the u-boot copy
 * because u-boot runs no DVFS. */
&cci {
	proc-supply = <&mt6358_vproc12_reg>;
};

&cpu0 {
	proc-supply = <&mt6358_vproc12_reg>;
};

&cpu1 {
	proc-supply = <&mt6358_vproc12_reg>;
};

&cpu2 {
	proc-supply = <&mt6358_vproc12_reg>;
};

&cpu3 {
	proc-supply = <&mt6358_vproc12_reg>;
};

&cpu4 {
	proc-supply = <&mt6358_vproc11_reg>;
};

&cpu5 {
	proc-supply = <&mt6358_vproc11_reg>;
};

&cpu6 {
	proc-supply = <&mt6358_vproc11_reg>;
};

&cpu7 {
	proc-supply = <&mt6358_vproc11_reg>;
};

/* PWM_A reaches the 40-pin header on CON1 pin 28 ("Raspberry-PWM0",
 * schematic sheet 19). Pin: GPIO90, ball AA6 -- the schematic prints AA6
 * beside the PWM block on sheet 5 and the datasheet gives GPIO90 = AA6 with
 * PWM_A as its default name.
 *
 * 🔴 This is &pwm1, NOT &pwm0. mt8183.dtsi carries two PWM blocks and their
 * labels do not run in the order the names suggest: pwm0 @0x1100e000 is
 * "mediatek,mt8183-disp-pwm", the DISPLAY BACKLIGHT controller whose signal
 * is DISP_PWM, while pwm1 @0x11006000 is "mediatek,mt8183-pwm", the
 * general-purpose 4-channel block that owns PWM_A/B/C. An earlier revision of
 * this file hung the header's PWM_A pin off &pwm0, which is a wrong hardware
 * claim -- it would have handed a 40-pin header line to the backlight engine.
 * Both nodes are status-less in the dtsi (enabled by default), so the error
 * was in the pin routing only, not in whether either probed.
 *
 * DISP_PWM itself is left alone: the ACE schematic has the net (sheet 5) but
 * its destination is not established, and the LCD backlight enable that DOES
 * reach J6 is LCM1_BL_EN through the U8 level shifter (sheet 17), a GPIO, not
 * this PWM.
 *
 * ⚠️ PWM_B (CON1 pin 33) and PWM_C (CON1 pin 35) are NOT muxed: each has
 * five candidate pins in mt8183-pinfunc.h and the schematic prints no ball
 * against either, so the routing is unread. The controller is shared, so both
 * channels still appear in sysfs -- they simply do not reach the header. */
&pwm1 {
	pinctrl-names = "default";
	pinctrl-0 = <&pwm_pins>;
	status = "okay";
};

&pio {
	i2c_pins_0: i2c0-pins {
		pins_i2c {
			pinmux = <PINMUX_GPIO82__FUNC_SDA0>,
				 <PINMUX_GPIO83__FUNC_SCL0>;
			mediatek,pull-up-adv = <3>;
		};
	};

	i2c_pins_1: i2c1-pins {
		pins_i2c {
			pinmux = <PINMUX_GPIO81__FUNC_SDA1>,
				 <PINMUX_GPIO84__FUNC_SCL1>;
			mediatek,pull-up-adv = <3>;
		};
	};

	i2c_pins_4: i2c4-pins {
		pins_i2c {
			pinmux = <PINMUX_GPIO105__FUNC_SCL4>,
				 <PINMUX_GPIO106__FUNC_SDA4>;
			mediatek,pull-up-adv = <3>;
		};
	};

	i2c_pins_5: i2c5-pins {
		pins_i2c {
			pinmux = <PINMUX_GPIO48__FUNC_SCL5>,
				 <PINMUX_GPIO49__FUNC_SDA5>;
			mediatek,pull-up-adv = <3>;
		};
	};

	i2c6_pins: i2c6-pins {
		pins_i2c {
			pinmux = <PINMUX_GPIO113__FUNC_SCL6>,
				 <PINMUX_GPIO114__FUNC_SDA6>;
			mediatek,pull-up-adv = <3>;
		};
	};

	i2c_pins_7: i2c7-pins {
		pins_i2c {
			pinmux = <PINMUX_GPIO110__FUNC_SCL7>,
				 <PINMUX_GPIO112__FUNC_SDA7>;
			mediatek,pull-up-adv = <3>;
		};
	};

	ite_pins: ite-pins {
		pins-irq {
			pinmux = <PINMUX_GPIO4__FUNC_GPIO4>;
			input-enable;
			bias-pull-up;
		};

		/* IT66121_SYSRSTN, ball AE2. Parked deasserted (active-low),
		 * never pulsed -- see the hdmitx@4c comment. */
		pins-rst {
			pinmux = <PINMUX_GPIO6__FUNC_GPIO6>;
			output-high;
		};
	};

	dpi_func_pins: dpi-func-pins {
		pins-dpi {
			pinmux = <PINMUX_GPIO13__FUNC_DBPI_D0>,
				 <PINMUX_GPIO14__FUNC_DBPI_D1>,
				 <PINMUX_GPIO15__FUNC_DBPI_D2>,
				 <PINMUX_GPIO16__FUNC_DBPI_D3>,
				 <PINMUX_GPIO17__FUNC_DBPI_D4>,
				 <PINMUX_GPIO18__FUNC_DBPI_D5>,
				 <PINMUX_GPIO19__FUNC_DBPI_D6>,
				 <PINMUX_GPIO20__FUNC_DBPI_D7>,
				 <PINMUX_GPIO21__FUNC_DBPI_D8>,
				 <PINMUX_GPIO22__FUNC_DBPI_D9>,
				 <PINMUX_GPIO23__FUNC_DBPI_D10>,
				 <PINMUX_GPIO24__FUNC_DBPI_D11>,
				 <PINMUX_GPIO25__FUNC_DBPI_HSYNC>,
				 <PINMUX_GPIO26__FUNC_DBPI_VSYNC>,
				 <PINMUX_GPIO27__FUNC_DBPI_DE>,
				 <PINMUX_GPIO28__FUNC_DBPI_CK>;
		};
	};

	dpi_idle_pins: dpi-idle-pins {
		pins-idle {
			pinmux = <PINMUX_GPIO13__FUNC_GPIO13>,
				 <PINMUX_GPIO14__FUNC_GPIO14>,
				 <PINMUX_GPIO15__FUNC_GPIO15>,
				 <PINMUX_GPIO16__FUNC_GPIO16>,
				 <PINMUX_GPIO17__FUNC_GPIO17>,
				 <PINMUX_GPIO18__FUNC_GPIO18>,
				 <PINMUX_GPIO19__FUNC_GPIO19>,
				 <PINMUX_GPIO20__FUNC_GPIO20>,
				 <PINMUX_GPIO21__FUNC_GPIO21>,
				 <PINMUX_GPIO22__FUNC_GPIO22>,
				 <PINMUX_GPIO23__FUNC_GPIO23>,
				 <PINMUX_GPIO24__FUNC_GPIO24>,
				 <PINMUX_GPIO25__FUNC_GPIO25>,
				 <PINMUX_GPIO26__FUNC_GPIO26>,
				 <PINMUX_GPIO27__FUNC_GPIO27>,
				 <PINMUX_GPIO28__FUNC_GPIO28>;
		};
	};

	uart1_pins: uart1-pins {
		pins-uart {
			pinmux = <PINMUX_GPIO115__FUNC_UTXD1>,
				 <PINMUX_GPIO121__FUNC_URXD1>;
		};
	};

	spi0_pins: spi0-pins {
		pins-spi {
			pinmux = <PINMUX_GPIO85__FUNC_SPI0_MI>,
				 <PINMUX_GPIO86__FUNC_SPI0_CSB>,
				 <PINMUX_GPIO87__FUNC_SPI0_MO>,
				 <PINMUX_GPIO88__FUNC_SPI0_CLK>;
			bias-disable;
		};
	};

	spi1_pins: spi1-pins {
		pins-spi {
			pinmux = <PINMUX_GPIO161__FUNC_SPI1_A_MI>,
				 <PINMUX_GPIO162__FUNC_SPI1_A_CSB>,
				 <PINMUX_GPIO163__FUNC_SPI1_A_MO>,
				 <PINMUX_GPIO164__FUNC_SPI1_A_CLK>;
			bias-disable;
		};
	};

	pwm_pins: pwm-pins {
		pins-pwm {
			pinmux = <PINMUX_GPIO90__FUNC_PWM_A>;
		};
	};

	mmc0_pins_default: mmc0-pins-default {
		pins_cmd_dat {
			pinmux = <PINMUX_GPIO123__FUNC_MSDC0_DAT0>,
				 <PINMUX_GPIO128__FUNC_MSDC0_DAT1>,
				 <PINMUX_GPIO125__FUNC_MSDC0_DAT2>,
				 <PINMUX_GPIO132__FUNC_MSDC0_DAT3>,
				 <PINMUX_GPIO126__FUNC_MSDC0_DAT4>,
				 <PINMUX_GPIO129__FUNC_MSDC0_DAT5>,
				 <PINMUX_GPIO127__FUNC_MSDC0_DAT6>,
				 <PINMUX_GPIO130__FUNC_MSDC0_DAT7>,
				 <PINMUX_GPIO122__FUNC_MSDC0_CMD>;
			input-enable;
			drive-strength = <MTK_DRIVE_14mA>;
			mediatek,pull-up-adv = <01>;
		};

		pins_clk {
			pinmux = <PINMUX_GPIO124__FUNC_MSDC0_CLK>;
			drive-strength = <MTK_DRIVE_14mA>;
			mediatek,pull-down-adv = <2>;
		};

		pins_rst {
			pinmux = <PINMUX_GPIO133__FUNC_MSDC0_RSTB>;
			drive-strength = <MTK_DRIVE_14mA>;
			mediatek,pull-down-adv = <01>;
		};
	};

	mmc0_pins_uhs: mmc0-pins-uhs {
		pins_cmd_dat {
			pinmux = <PINMUX_GPIO123__FUNC_MSDC0_DAT0>,
				 <PINMUX_GPIO128__FUNC_MSDC0_DAT1>,
				 <PINMUX_GPIO125__FUNC_MSDC0_DAT2>,
				 <PINMUX_GPIO132__FUNC_MSDC0_DAT3>,
				 <PINMUX_GPIO126__FUNC_MSDC0_DAT4>,
				 <PINMUX_GPIO129__FUNC_MSDC0_DAT5>,
				 <PINMUX_GPIO127__FUNC_MSDC0_DAT6>,
				 <PINMUX_GPIO130__FUNC_MSDC0_DAT7>,
				 <PINMUX_GPIO122__FUNC_MSDC0_CMD>;
			input-enable;
			drive-strength = <MTK_DRIVE_14mA>;
			mediatek,pull-up-adv = <01>;
		};

		pins_clk {
			pinmux = <PINMUX_GPIO124__FUNC_MSDC0_CLK>;
			drive-strength = <MTK_DRIVE_14mA>;
			mediatek,pull-down-adv = <2>;
		};

		pins_ds {
			pinmux = <PINMUX_GPIO131__FUNC_MSDC0_DSL>;
			drive-strength = <MTK_DRIVE_14mA>;
			mediatek,pull-down-adv = <2>;
		};

		pins_rst {
			pinmux = <PINMUX_GPIO133__FUNC_MSDC0_RSTB>;
			drive-strength = <MTK_DRIVE_14mA>;
			mediatek,pull-up-adv = <01>;
		};
	};

	/* EXT_3V3_ENABLE, ball V22. Parked output-low so the pin is a GPIO
	 * before the regulator core claims it; the fixed-regulator driver then
	 * drives it high. See the &ext_3v3 node for the sourcing. */
	ext_3v3_en_pins: ext-3v3-en-pins {
		pins-en {
			pinmux = <PINMUX_GPIO166__FUNC_GPIO166>;
			output-low;
		};
	};

	/* WIFI_RESET_N, ball Y7. Parked ASSERTED (output-low, active-low) so the
	 * module is held in reset until mmc-pwrseq-simple releases it after the
	 * supply is up. See the &wifi_pwrseq node. */
	wifi_reset_pins: wifi-reset-pins {
		pins-rst {
			pinmux = <PINMUX_GPIO178__FUNC_GPIO178>;
			output-low;
		};
	};

	mmc1_pins_default: mmc1-pins-default {
		pins_cmd_dat {
			pinmux = <PINMUX_GPIO31__FUNC_MSDC1_CMD>,
				 <PINMUX_GPIO32__FUNC_MSDC1_DAT0>,
				 <PINMUX_GPIO34__FUNC_MSDC1_DAT1>,
				 <PINMUX_GPIO33__FUNC_MSDC1_DAT2>,
				 <PINMUX_GPIO30__FUNC_MSDC1_DAT3>;
			input-enable;
			mediatek,pull-up-adv = <2>;
		};

		pins_clk {
			pinmux = <PINMUX_GPIO29__FUNC_MSDC1_CLK>;
			input-enable;
			mediatek,pull-down-adv = <2>;
		};
	};

	mmc1_pins_uhs: mmc1-pins-uhs {
		pins_cmd_dat {
			pinmux = <PINMUX_GPIO31__FUNC_MSDC1_CMD>,
				 <PINMUX_GPIO32__FUNC_MSDC1_DAT0>,
				 <PINMUX_GPIO34__FUNC_MSDC1_DAT1>,
				 <PINMUX_GPIO33__FUNC_MSDC1_DAT2>,
				 <PINMUX_GPIO30__FUNC_MSDC1_DAT3>;
			drive-strength = <6>;
			input-enable;
			mediatek,pull-up-adv = <2>;
		};

		pins_clk {
			pinmux = <PINMUX_GPIO29__FUNC_MSDC1_CLK>;
			drive-strength = <8>;
			mediatek,pull-down-adv = <2>;
			input-enable;
		};
	};
};
